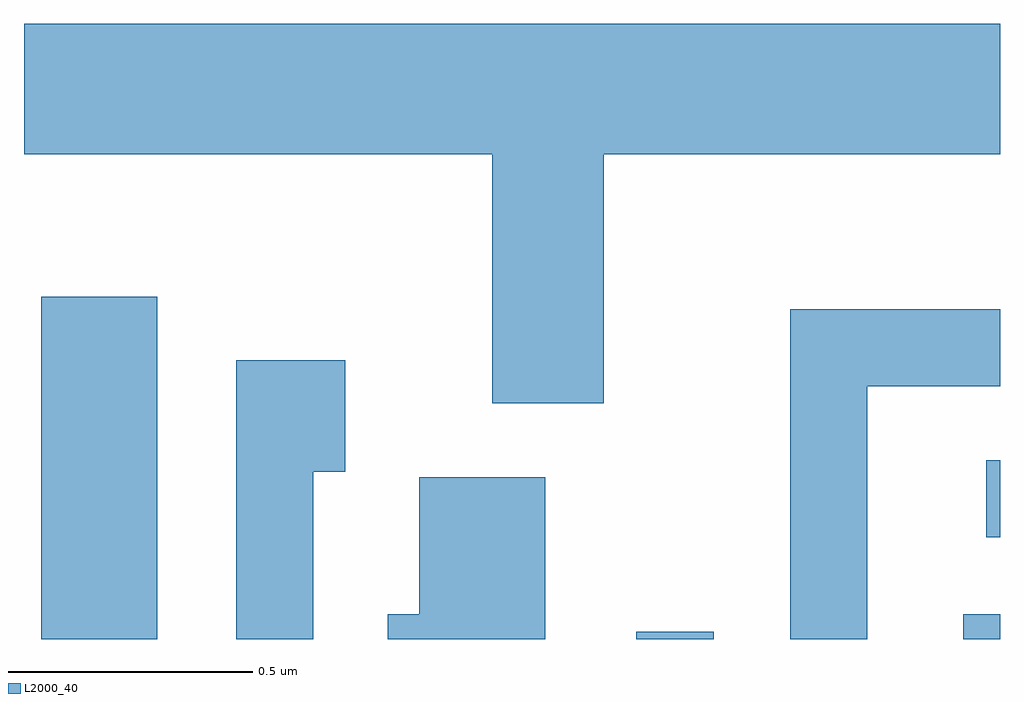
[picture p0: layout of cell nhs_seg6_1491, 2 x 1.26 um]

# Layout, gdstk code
import gdstk
lib = gdstk.Library(unit=1e-6, precision=1e-09)
def R(c, l, rs):  # rectangles x0, y0, x1, y1
    for r in rs: c.add(gdstk.rectangle(r[:2], r[2:], *l))
def P(c, l, *ps):  # polygons
    for p in ps: c.add(gdstk.Polygon(p, *l))
L2000_40 = (2000, 40)

nhs_seg6_1491 = lib.new_cell('nhs_seg6_1491')
R(nhs_seg6_1491, L2000_40, [(195.646,1651.162,195.884,1651.864), (196.866,1651.162,197.024,1651.178), (197.536,1651.162,197.611,1651.214), (197.583,1651.371,197.611,1651.529)])
P(nhs_seg6_1491, L2000_40, [(196.799,1652.156),(197.611,1652.156),(197.611,1652.424),(195.611,1652.424),(195.611,1652.156),(196.571,1652.156),(196.571,1651.646),(196.799,1651.646)],
  [(197.339,1651.681),(197.611,1651.681),(197.611,1651.839),(197.181,1651.839),(197.181,1651.162),(197.339,1651.162)],
  [(196.204,1651.506),(196.269,1651.506),(196.269,1651.734),(196.046,1651.734),(196.046,1651.162),(196.204,1651.162)],
  [(196.679,1651.494),(196.421,1651.494),(196.421,1651.214),(196.356,1651.214),(196.356,1651.162),(196.679,1651.162)])

lib.write_gds('nhs_seg6_1491.gds')
